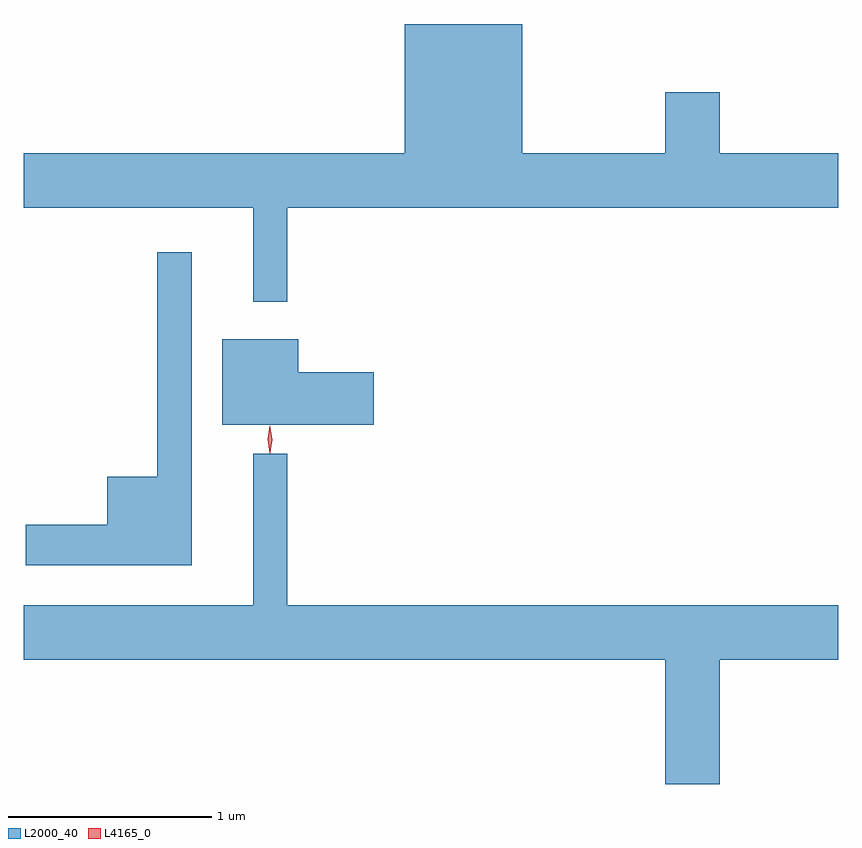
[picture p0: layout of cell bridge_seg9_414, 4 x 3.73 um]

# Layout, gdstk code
import gdstk
lib = gdstk.Library(unit=1e-6, precision=1e-09)
def P(c, l, *ps):  # polygons
    for p in ps: c.add(gdstk.Polygon(p, *l))
L2000_40 = (2000, 40)
L4165_0 = (4165, 0)

bridge_seg9_414 = lib.new_cell('bridge_seg9_414')
P(bridge_seg9_414, L2000_40, [(413.019,2040.656),(415.725,2040.656),(415.725,2040.924),(415.144,2040.924),(415.144,2041.224),(414.876,2041.224),(414.876,2040.924),(414.174,2040.924),(414.174,2041.558),(413.596,2041.558),(413.596,2040.924),(411.725,2040.924),(411.725,2040.656),(412.851,2040.656),(412.851,2040.193),(413.019,2040.193)],
  [(412.549,2040.438),(412.381,2040.438),(412.381,2039.334),(412.136,2039.334),(412.136,2039.099),(411.736,2039.099),(411.736,2038.901),(412.549,2038.901)],
  [(413.444,2039.849),(413.074,2039.849),(413.074,2040.009),(412.701,2040.009),(412.701,2039.591),(413.444,2039.591)],
  [(415.144,2038.436),(415.725,2038.436),(415.725,2038.704),(413.019,2038.704),(413.019,2039.448),(412.851,2039.448),(412.851,2038.704),(411.725,2038.704),(411.725,2038.436),(414.876,2038.436),(414.876,2037.826),(415.144,2037.826)])
P(bridge_seg9_414, L4165_0, [(412.934,2039.45),(412.934,2039.45),(412.924,2039.518),(412.933,2039.586),(412.933,2039.586),(412.934,2039.586),(412.944,2039.518),(412.935,2039.45)],
  [(412.935,2039.453),(412.934,2039.454),(412.925,2039.516),(412.934,2039.579),(412.935,2039.58),(412.935,2039.579),(412.945,2039.516),(412.935,2039.454)])

lib.write_gds('bridge_seg9_414.gds')
